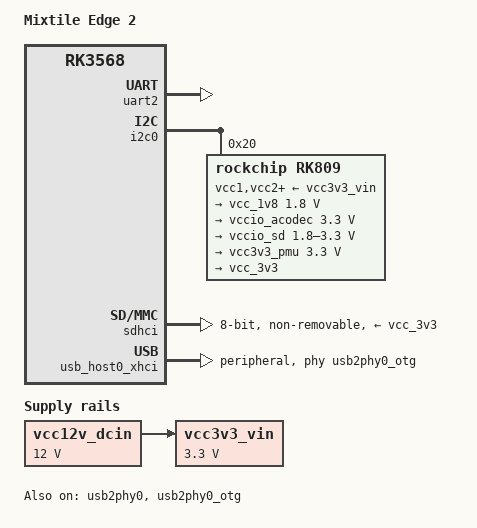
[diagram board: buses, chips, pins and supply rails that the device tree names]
// SPDX-License-Identifier: (GPL-2.0+ OR MIT)
/dts-v1/;

#include <arm64/rockchip/rk3568.dtsi>

/ {
	model = "Mixtile Edge 2";
	compatible = "mixtile,edge2", "rockchip,rk3568";

	aliases {
		mmc0 = &sdhci;
		serial2 = &uart2;
	};

	chosen {
		stdout-path = "serial2:1500000n8";
	};

	vcc12v_dcin: regulator-vcc12v-dcin {
		compatible = "regulator-fixed";
		regulator-name = "vcc12v_dcin";
		regulator-always-on;
		regulator-boot-on;
		regulator-min-microvolt = <12000000>;
		regulator-max-microvolt = <12000000>;
	};

	vcc3v3_vin: regulator-vcc3v3-vin {
		compatible = "regulator-fixed";
		regulator-name = "vcc3v3_vin";
		regulator-always-on;
		regulator-boot-on;
		regulator-min-microvolt = <3300000>;
		regulator-max-microvolt = <3300000>;
		vin-supply = <&vcc12v_dcin>;
	};
};

&uart2 {
	status = "okay";
};

&i2c0 {
	status = "okay";

	rk809: pmic@20 {
		compatible = "rockchip,rk809";
		reg = <0x20>;
		system-power-controller;
		vcc1-supply = <&vcc3v3_vin>;
		vcc2-supply = <&vcc3v3_vin>;
		vcc3-supply = <&vcc3v3_vin>;
		vcc4-supply = <&vcc3v3_vin>;
		vcc5-supply = <&vcc3v3_vin>;
		vcc6-supply = <&vcc3v3_vin>;
		vcc7-supply = <&vcc3v3_vin>;
		vcc8-supply = <&vcc3v3_vin>;
		vcc9-supply = <&vcc3v3_vin>;

		regulators {
			vcc_1v8: DCDC_REG5 {
				regulator-name = "vcc_1v8";
				regulator-always-on;
				regulator-boot-on;
				regulator-min-microvolt = <1800000>;
				regulator-max-microvolt = <1800000>;
			};

			vccio_acodec: LDO_REG4 {
				regulator-name = "vccio_acodec";
				regulator-always-on;
				regulator-min-microvolt = <3300000>;
				regulator-max-microvolt = <3300000>;
			};

			vccio_sd: LDO_REG5 {
				regulator-name = "vccio_sd";
				regulator-min-microvolt = <1800000>;
				regulator-max-microvolt = <3300000>;
			};

			vcc3v3_pmu: LDO_REG6 {
				regulator-name = "vcc3v3_pmu";
				regulator-always-on;
				regulator-boot-on;
				regulator-min-microvolt = <3300000>;
				regulator-max-microvolt = <3300000>;
			};

			vcc_3v3: SWITCH_REG1 {
				regulator-name = "vcc_3v3";
				regulator-always-on;
				regulator-boot-on;
			};
		};
	};
};

/* VCCIO2 (eMMC bus) is strapped to 1.8 V by FLASH_VOL_SEL, not software controlled */
&pmu_io_domains {
	pmuio2-supply = <&vcc3v3_pmu>;
	vccio1-supply = <&vccio_acodec>;
	vccio3-supply = <&vccio_sd>;
	vccio4-supply = <&vcc_1v8>;
	vccio5-supply = <&vcc_3v3>;
	vccio6-supply = <&vcc_1v8>;
	vccio7-supply = <&vcc_3v3>;
	status = "okay";
};

&sdhci {
	bus-width = <8>;
	mmc-hs200-1_8v;
	no-sd;
	no-sdio;
	non-removable;
	pinctrl-names = "default";
	pinctrl-0 = <&emmc_bus8 &emmc_clk &emmc_cmd &emmc_datastrobe
		     &emmc_rstnout>;
	vmmc-supply = <&vcc_3v3>;
	vqmmc-supply = <&vcc_1v8>;
	status = "okay";
};

&sdmmc0 {
	status = "disabled";
};

&sdmmc1 {
	status = "disabled";
};

&sdmmc2 {
	status = "disabled";
};

/* no SPI NOR on this board, the FSPI pins are used as GPIO */
&sfc {
	status = "disabled";
};

&usb_host0_xhci {
	dr_mode = "peripheral";
	extcon = <&usb2phy0>;
	maximum-speed = "high-speed";
	phys = <&usb2phy0_otg>;
	phy-names = "usb2-phy";
	status = "okay";
};

&usb2phy0 {
	status = "okay";
};

&usb2phy0_otg {
	status = "okay";
};
